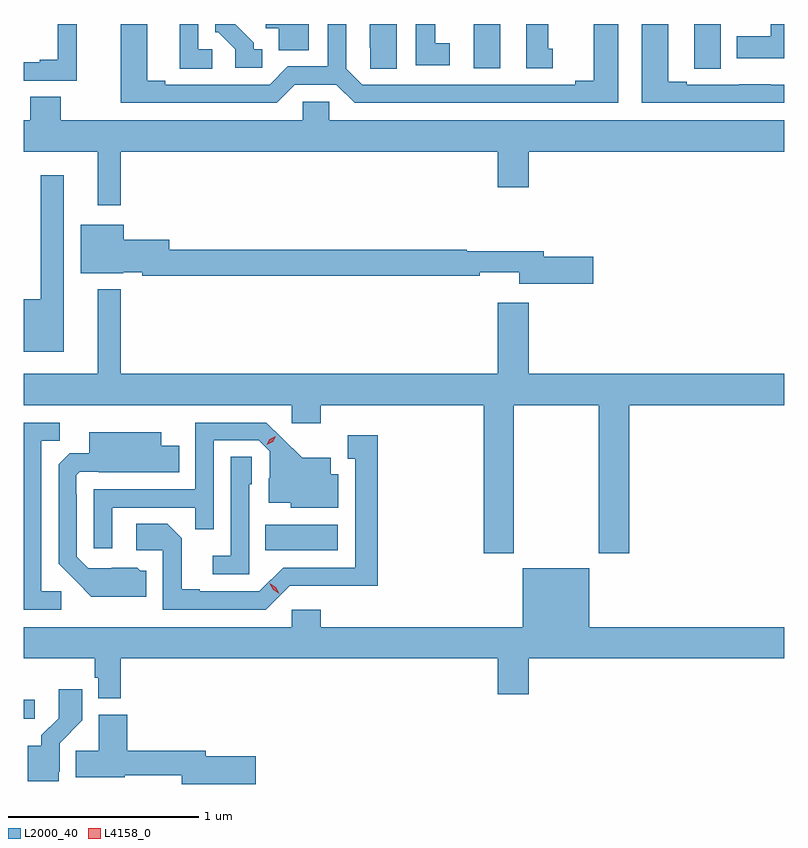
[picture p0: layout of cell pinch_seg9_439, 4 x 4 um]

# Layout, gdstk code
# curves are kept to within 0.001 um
import gdstk
lib = gdstk.Library(unit=1e-6, precision=1e-09)
def R(c, l, rs):  # rectangles x0, y0, x1, y1
    for r in rs: c.add(gdstk.rectangle(r[:2], r[2:], *l))
def P(c, l, *ps):  # polygons
    for p in ps: c.add(gdstk.Polygon(p, *l))
L2000_40 = (2000, 40)
L4158_0 = (4158, 0)

pinch_seg9_439 = lib.new_cell('pinch_seg9_439')
R(pinch_seg9_439, L2000_40, [(258.419,1197.435,258.478,1197.534), (259.69,1198.322,260.071,1198.456), (260.786,1200.855,260.926,1201.087)])
P(pinch_seg9_439, L2000_40, [(260.38,1201.087),(260.24,1201.087),(260.24,1200.961),(260.241,1200.961),(260.241,1200.853),(260.38,1200.853)],
  [(262.419,1201.087),(262.346,1201.087),(262.346,1201.023),(262.169,1201.023),(262.169,1200.906),(262.419,1200.906)],
  [(259.845,1200.768),(260.063,1200.768),(260.159,1200.672),(261.544,1200.672),(261.544,1201.087),(261.416,1201.087),(261.416,1200.788),(261.32,1200.788),(261.32,1200.768),(260.199,1200.768),(260.115,1200.852),(260.115,1201.087),(260.019,1201.087),(260.019,1200.864),(259.809,1200.864),(259.713,1200.768),(259.165,1200.768),(259.165,1200.788),(259.069,1200.788),(259.069,1201.087),(258.929,1201.087),(258.929,1200.672),(259.749,1200.672)],
  [(259.411,1200.954),(259.338,1200.954),(259.338,1201.087),(259.241,1201.087),(259.241,1200.853),(259.411,1200.853)],
  [(258.699,1201.087),(258.599,1201.087),(258.599,1200.898),(258.503,1200.898),(258.503,1200.885),(258.419,1200.885),(258.419,1200.789),(258.699,1200.789)],
  [(262.084,1201.087),(261.944,1201.087),(261.944,1200.961),(261.945,1200.961),(261.945,1200.853),(262.084,1200.853)],
  [(262.419,1200.768),(262.346,1200.768),(262.346,1200.769),(262.18,1200.769),(262.18,1200.768),(261.904,1200.768),(261.904,1200.783),(261.808,1200.783),(261.808,1201.087),(261.668,1201.087),(261.668,1200.672),(262.419,1200.672)],
  [(261.202,1200.957),(261.178,1200.957),(261.178,1201.087),(261.062,1201.087),(261.062,1200.855),(261.202,1200.855)],
  [(259.918,1201.087),(259.691,1201.087),(259.691,1201.064),(259.76,1201.064),(259.76,1200.949),(259.918,1200.949)],
  [(259.675,1200.954),(259.63,1200.954),(259.63,1200.989),(259.532,1201.087),(259.428,1201.087),(259.428,1201.044),(259.443,1201.044),(259.533,1200.954),(259.533,1200.858),(259.675,1200.858)],
  [(260.659,1200.986),(260.584,1200.986),(260.584,1201.087),(260.48,1201.087),(260.48,1200.87),(260.659,1200.87)],
  [(258.931,1200.416),(260.912,1200.416),(260.912,1200.228),(261.076,1200.228),(261.076,1200.416),(262.419,1200.416),(262.419,1200.58),(260.025,1200.58),(260.025,1200.678),(259.887,1200.678),(259.887,1200.58),(258.615,1200.58),(258.615,1200.704),(258.455,1200.704),(258.455,1200.58),(258.419,1200.58),(258.419,1200.416),(258.809,1200.416),(258.809,1200.135),(258.931,1200.135)],
  [(258.631,1200.292),(258.51,1200.292),(258.51,1199.639),(258.419,1199.639),(258.419,1199.363),(258.631,1199.363)],
  [(261.415,1199.864),(261.154,1199.864),(261.154,1199.893),(260.75,1199.893),(260.75,1199.9),(259.186,1199.9),(259.186,1199.953),(258.946,1199.953),(258.946,1200.031),(258.719,1200.031),(258.719,1199.777),(258.942,1199.777),(258.942,1199.783),(259.042,1199.783),(259.042,1199.764),(260.816,1199.764),(260.816,1199.783),(261.026,1199.783),(261.026,1199.722),(261.415,1199.722)],
  [(260.997,1199.084),(261.442,1199.084),(261.442,1198.305),(261.602,1198.305),(261.602,1199.084),(262.419,1199.084),(262.419,1199.248),(261.076,1199.248),(261.076,1199.623),(260.912,1199.623),(260.912,1199.248),(258.931,1199.248),(258.931,1199.692),(258.809,1199.692),(258.809,1199.248),(258.419,1199.248),(258.419,1199.084),(259.83,1199.084),(259.83,1198.989),(259.982,1198.989),(259.982,1199.084),(260.837,1199.084),(260.837,1198.305),(260.997,1198.305)],
  [(258.616,1198.104),(258.513,1198.104),(258.513,1198.897),(258.609,1198.897),(258.609,1198.992),(258.419,1198.992),(258.419,1198.008),(258.616,1198.008)],
  [(258.885,1198.545),(259.321,1198.545),(259.321,1198.432),(259.419,1198.432),(259.419,1198.899),(259.656,1198.899),(259.713,1198.842),(259.713,1198.7),(259.709,1198.7),(259.709,1198.571),(259.824,1198.571),(259.824,1198.544),(260.074,1198.544),(260.074,1198.72),(260.035,1198.72),(260.035,1198.807),(259.883,1198.807),(259.696,1198.992),(259.323,1198.992),(259.323,1198.641),(258.789,1198.641),(258.789,1198.332),(258.885,1198.332)],
  [(259.063,1198.212),(259.032,1198.212),(259.016,1198.228),(258.759,1198.227),(258.699,1198.287),(258.699,1198.616),(258.696,1198.616),(258.696,1198.716),(258.714,1198.734),(258.814,1198.734),(258.814,1198.73),(259.238,1198.73),(259.238,1198.87),(259.144,1198.87),(259.144,1198.942),(258.764,1198.942),(258.764,1198.831),(258.662,1198.831),(258.603,1198.772),(258.603,1198.25),(258.775,1198.076),(259.063,1198.076)],
  [(259.818,1198.134),(260.281,1198.133),(260.281,1198.924),(260.123,1198.924),(260.123,1198.803),(260.162,1198.803),(260.162,1198.23),(259.785,1198.23),(259.659,1198.104),(259.345,1198.104),(259.345,1198.117),(259.251,1198.117),(259.251,1198.384),(259.175,1198.46),(259.011,1198.46),(259.011,1198.32),(259.152,1198.32),(259.152,1198.008),(259.692,1198.008)],
  [(259.605,1198.668),(259.62,1198.668),(259.62,1198.811),(259.509,1198.811),(259.509,1198.291),(259.413,1198.291),(259.413,1198.194),(259.605,1198.194)],
  [(258.929,1197.752),(260.912,1197.752),(260.912,1197.564),(261.076,1197.564),(261.076,1197.752),(262.419,1197.752),(262.419,1197.916),(261.394,1197.916),(261.394,1198.225),(261.044,1198.225),(261.044,1197.916),(259.982,1197.916),(259.982,1198.009),(259.83,1198.009),(259.83,1197.916),(258.419,1197.916),(258.419,1197.752),(258.793,1197.752),(258.793,1197.651),(258.813,1197.651),(258.813,1197.542),(258.929,1197.542)],
  [(258.604,1197.156),(258.609,1197.156),(258.609,1197.307),(258.728,1197.426),(258.728,1197.589),(258.603,1197.589),(258.603,1197.437),(258.512,1197.347),(258.512,1197.292),(258.44,1197.292),(258.44,1197.107),(258.604,1197.107)],
  [(259.639,1197.239),(259.378,1197.239),(259.378,1197.268),(258.965,1197.268),(258.965,1197.457),(258.815,1197.457),(258.815,1197.266),(258.694,1197.266),(258.694,1197.128),(258.952,1197.128),(258.952,1197.139),(259.25,1197.139),(259.25,1197.092),(259.639,1197.092)])
P(pinch_seg9_439, L4158_0, [(259.762,1198.093),(259.731,1198.112),(259.714,1198.145),(259.714,1198.146),(259.714,1198.146),(259.745,1198.126),(259.762,1198.093),(259.762,1198.093)],
  [(259.697,1198.875),(259.697,1198.875),(259.714,1198.904),(259.745,1198.919),(259.745,1198.919),(259.745,1198.919),(259.728,1198.89),(259.697,1198.875)])

lib.write_gds('pinch_seg9_439.gds')
